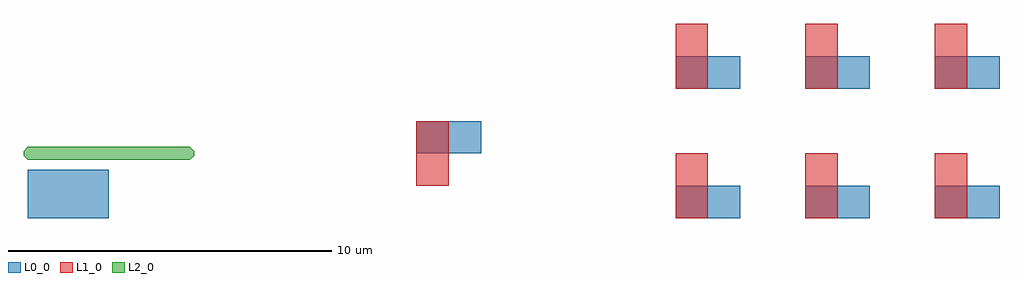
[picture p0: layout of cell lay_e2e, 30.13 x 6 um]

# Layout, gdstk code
import gdstk
lib = gdstk.Library(unit=1e-6, precision=1e-09)
def R(c, l, rs):  # rectangles x0, y0, x1, y1
    for r in rs: c.add(gdstk.rectangle(r[:2], r[2:], *l))
def P(c, l, *ps):  # polygons
    for p in ps: c.add(gdstk.Polygon(p, *l))
L0_0 = (0, 0)
L1_0 = (1, 0)
L2_0 = (2, 0)

lay_master = lib.new_cell('lay_master')
R(lay_master, L0_0, [(0,0,2,1)])
R(lay_master, L1_0, [(0,0,1,2)])

lay_e2e = lib.new_cell('lay_e2e')
R(lay_e2e, L0_0, [(0,0,2.5,1.5)])
P(lay_e2e, L2_0, [(0,1.8),(5,1.8),(5.133,1.933),(5.133,2.067),(5,2.2),(0,2.2),(-0.133,2.067),(-0.133,1.933)])
r = gdstk.Reference(lay_master, (20,0)); r.repetition = gdstk.Repetition(3, 2, v1=(4,0), v2=(0,4)); lay_e2e.add(r)
lay_e2e.add(gdstk.Reference(lay_master, (12,3), x_reflection=True))

lib.write_gds('lay_e2e.gds')
